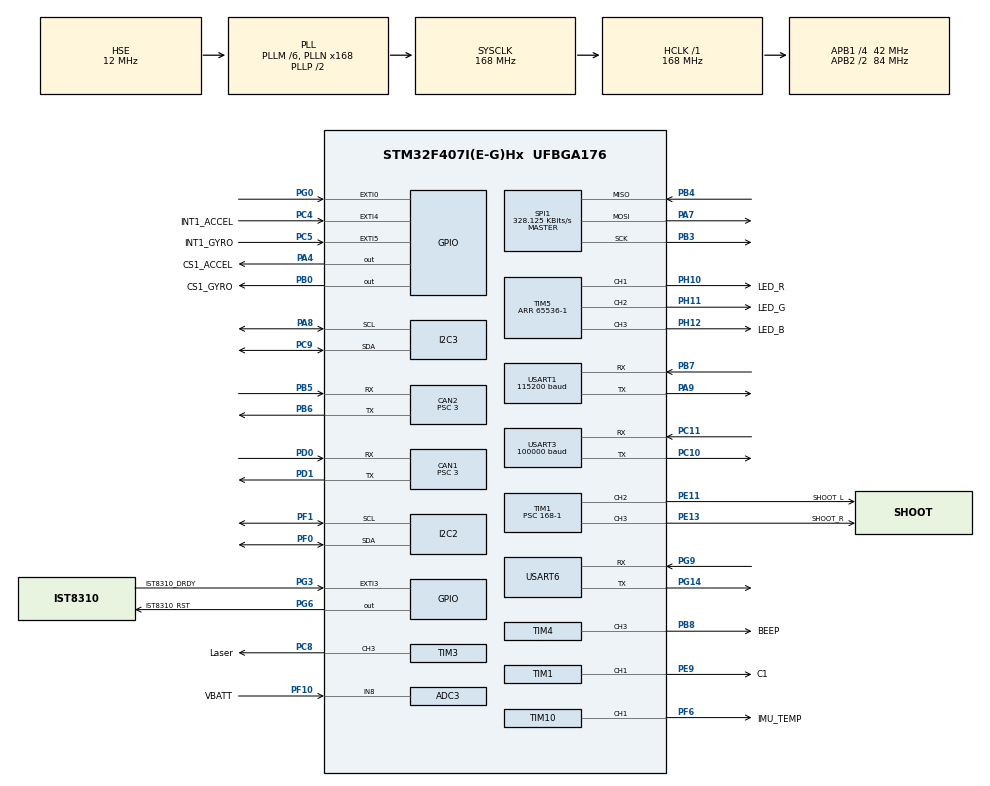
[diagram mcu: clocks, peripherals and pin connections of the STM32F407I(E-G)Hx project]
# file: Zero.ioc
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ADC1.Channel-1\#ChannelRegularConversion=ADC_CHANNEL_VREFINT
ADC1.NbrOfConversionFlag=1
ADC1.Rank-1\#ChannelRegularConversion=1
ADC1.SamplingTime-1\#ChannelRegularConversion=ADC_SAMPLETIME_15CYCLES
ADC1.master=1
ADC3.Channel-0\#ChannelRegularConversion=ADC_CHANNEL_8
ADC3.NbrOfConversionFlag=1
ADC3.Rank-0\#ChannelRegularConversion=1
ADC3.SamplingTime-0\#ChannelRegularConversion=ADC_SAMPLETIME_3CYCLES
CAN1.BS1=CAN_BS1_10TQ
CAN1.BS2=CAN_BS2_3TQ
CAN1.CalculateBaudRate=1000000
CAN1.CalculateTimeBit=1000
CAN1.CalculateTimeQuantum=71.42857142857143
CAN1.Prescaler=3
CAN2.BS1=CAN_BS1_10TQ
CAN2.BS2=CAN_BS2_3TQ
CAN2.CalculateBaudRate=1000000
CAN2.CalculateTimeBit=1000
CAN2.CalculateTimeQuantum=71.42857142857143
CAN2.Prescaler=3
Dma.Request0=USART3_RX
Dma.Request1=SPI1_RX
Dma.Request2=SPI1_TX
Dma.SPI1_RX.1.Direction=DMA_PERIPH_TO_MEMORY
Dma.SPI1_RX.1.FIFOMode=DMA_FIFOMODE_DISABLE
Dma.SPI1_RX.1.Instance=DMA2_Stream2
Dma.SPI1_RX.1.MemDataAlignment=DMA_MDATAALIGN_BYTE
Dma.SPI1_RX.1.MemInc=DMA_MINC_ENABLE
Dma.SPI1_RX.1.Mode=DMA_NORMAL
Dma.SPI1_RX.1.PeriphDataAlignment=DMA_PDATAALIGN_BYTE
Dma.SPI1_RX.1.PeriphInc=DMA_PINC_DISABLE
Dma.SPI1_RX.1.Priority=DMA_PRIORITY_VERY_HIGH
Dma.SPI1_TX.2.Direction=DMA_MEMORY_TO_PERIPH
Dma.SPI1_TX.2.FIFOMode=DMA_FIFOMODE_DISABLE
Dma.SPI1_TX.2.Instance=DMA2_Stream3
Dma.SPI1_TX.2.MemDataAlignment=DMA_MDATAALIGN_BYTE
Dma.SPI1_TX.2.MemInc=DMA_MINC_ENABLE
Dma.SPI1_TX.2.Mode=DMA_NORMAL
Dma.SPI1_TX.2.PeriphDataAlignment=DMA_PDATAALIGN_BYTE
Dma.SPI1_TX.2.PeriphInc=DMA_PINC_DISABLE
Dma.SPI1_TX.2.Priority=DMA_PRIORITY_HIGH
Dma.USART3_RX.0.Direction=DMA_PERIPH_TO_MEMORY
Dma.USART3_RX.0.FIFOMode=DMA_FIFOMODE_DISABLE
Dma.USART3_RX.0.Instance=DMA1_Stream1
Dma.USART3_RX.0.MemDataAlignment=DMA_MDATAALIGN_BYTE
Dma.USART3_RX.0.MemInc=DMA_MINC_ENABLE
Dma.USART3_RX.0.Mode=DMA_NORMAL
Dma.USART3_RX.0.PeriphDataAlignment=DMA_PDATAALIGN_BYTE
Dma.USART3_RX.0.PeriphInc=DMA_PINC_DISABLE
Dma.USART3_RX.0.Priority=DMA_PRIORITY_VERY_HIGH
FREERTOS.INCLUDE_eTaskGetState=1
FREERTOS.INCLUDE_pcTaskGetTaskName=1
FREERTOS.INCLUDE_uxTaskGetStackHighWaterMark=1
FREERTOS.INCLUDE_vTaskCleanUpResources=1
FREERTOS.INCLUDE_vTaskDelayUntil=1
FREERTOS.INCLUDE_xEventGroupSetBitFromISR=1
FREERTOS.INCLUDE_xQueueGetMutexHolder=1
FREERTOS.INCLUDE_xSemaphoreGetMutexHolder=1
FREERTOS.INCLUDE_xTaskAbortDelay=1
FREERTOS.INCLUDE_xTaskGetCurrentTaskHandle=1
FREERTOS.INCLUDE_xTaskGetHandle=1
FREERTOS.INCLUDE_xTimerPendFunctionCall=1
FREERTOS.Tasks01=test,-1,256,TestTask,As weak,NULL,Dynamic,NULL,NULL;gimbal,2,256,GimbalTask,As weak,NULL,Dynamic,NULL,NULL;shoot,1,256,ShootTask,As weak,NULL,Dynamic,NULL,NULL;IMU,3,256,IMUTask,As weak,NULL,Dynamic,NULL,NULL
FREERTOS.configMINIMAL_STACK_SIZE=256
FREERTOS.configTOTAL_HEAP_SIZE=24576
FREERTOS.configUSE_NEWLIB_REENTRANT=1
FREERTOS.configUSE_TIMERS=1
I2C2.I2C_Mode=I2C_Fast
I2C3.I2C_Mode=I2C_Fast
Mcu.Family=STM32F4
Mcu.Name=STM32F407I(E-G)Hx
Mcu.Package=UFBGA176
NVIC.CAN1_RX0_IRQn=true\:6\:0\:true\:false\:true\:true\:true\:true\:true
NVIC.CAN2_RX0_IRQn=true\:6\:0\:true\:false\:true\:true\:true\:true\:true
NVIC.DMA1_Stream1_IRQn=true\:5\:0\:false\:false\:true\:true\:false\:true\:true
NVIC.DMA2_Stream2_IRQn=true\:5\:0\:false\:false\:false\:true\:false\:true\:true
NVIC.DMA2_Stream3_IRQn=true\:5\:0\:false\:false\:true\:true\:false\:true\:true
NVIC.EXTI0_IRQn=true\:5\:0\:true\:false\:true\:true\:true\:true\:true
NVIC.EXTI3_IRQn=true\:5\:0\:true\:false\:true\:true\:true\:true\:true
NVIC.EXTI4_IRQn=true\:5\:0\:true\:false\:true\:true\:true\:true\:true
NVIC.EXTI9_5_IRQn=true\:5\:0\:false\:false\:true\:true\:true\:true\:true
NVIC.PriorityGroup=NVIC_PRIORITYGROUP_4
NVIC.TIM1_BRK_TIM9_IRQn=true\:15\:0\:false\:false\:true\:false\:false\:true\:true
NVIC.TimeBase=TIM1_BRK_TIM9_IRQn
NVIC.TimeBaseIP=TIM9
NVIC.USART1_IRQn=true\:6\:0\:true\:false\:false\:true\:true\:true\:true
NVIC.USART3_IRQn=true\:5\:0\:true\:false\:false\:true\:true\:true\:true
PA13.Mode=Serial_Wire
PA13.Signal=SYS_JTMS-SWDIO
PA14.Mode=Serial_Wire
PA14.Signal=SYS_JTCK-SWCLK
PA4.GPIO_Label=CS1_ACCEL
PA4.GPIO_PuPd=GPIO_PULLUP
PA4.GPIO_Speed=GPIO_SPEED_FREQ_VERY_HIGH
PA4.PinState=GPIO_PIN_SET
PA4.Signal=GPIO_Output
PA7.GPIO_PuPd=GPIO_PULLUP
PA7.Mode=Full_Duplex_Master
PA7.Signal=SPI1_MOSI
PA8.GPIO_Pu=GPIO_PULLUP
PA8.Mode=I2C
PA8.Signal=I2C3_SCL
PA9.Mode=Asynchronous
PA9.Signal=USART1_TX
PB0.GPIO_Label=CS1_GYRO
PB0.GPIO_PuPd=GPIO_PULLUP
PB0.GPIO_Speed=GPIO_SPEED_FREQ_VERY_HIGH
PB0.PinState=GPIO_PIN_SET
PB0.Signal=GPIO_Output
PB3.GPIO_PuPd=GPIO_PULLUP
PB3.Mode=Full_Duplex_Master
PB3.Signal=SPI1_SCK
PB4.GPIO_PuPd=GPIO_PULLUP
PB4.Mode=Full_Duplex_Master
PB4.Signal=SPI1_MISO
PB5.Mode=CAN_Activate
PB5.Signal=CAN2_RX
PB6.Mode=CAN_Activate
PB6.Signal=CAN2_TX
PB7.Mode=Asynchronous
PB7.Signal=USART1_RX
PB8.GPIO_Label=BEEP
PB8.GPIO_Speed=GPIO_SPEED_FREQ_VERY_HIGH
PB8.Signal=S_TIM4_CH3
PC10.Mode=Asynchronous
PC10.Signal=USART3_TX
PC11.Mode=Asynchronous
PC11.Signal=USART3_RX
PC4.GPIO_Label=INT1_ACCEL
PC4.GPIO_PuPd=GPIO_PULLUP
PC4.Signal=GPXTI4
PC5.GPIO_Label=INT1_GYRO
PC5.GPIO_PuPd=GPIO_PULLUP
PC5.Signal=GPXTI5
PC8.GPIO_Label=Laser
PC8.GPIO_Speed=GPIO_SPEED_FREQ_VERY_HIGH
PC8.Signal=S_TIM3_CH3
PC9.GPIO_Pu=GPIO_PULLUP
PC9.Mode=I2C
PC9.Signal=I2C3_SDA
PD0.Mode=CAN_Activate
PD0.Signal=CAN1_RX
PD1.Mode=CAN_Activate
PD1.Signal=CAN1_TX
PE11.GPIO_Label=SHOOT_L
PE11.GPIO_Speed=GPIO_SPEED_FREQ_VERY_HIGH
PE11.Signal=S_TIM1_CH2
PE13.GPIO_Label=SHOOT_R
PE13.GPIO_Speed=GPIO_SPEED_FREQ_VERY_HIGH
PE13.Signal=S_TIM1_CH3
PE9.GPIO_Label=C1
PE9.GPIO_Speed=GPIO_SPEED_FREQ_VERY_HIGH
PE9.Signal=S_TIM1_CH1
PF0.Mode=I2C
PF0.Signal=I2C2_SDA
PF1.Mode=I2C
PF1.Signal=I2C2_SCL
PF10.GPIO_Label=VBATT
PF10.Mode=IN8
PF10.Signal=ADC3_IN8
PF6.GPIO_Label=IMU_TEMP
PF6.GPIO_Speed=GPIO_SPEED_FREQ_VERY_HIGH
PF6.Signal=S_TIM10_CH1
PG0.GPIO_PuPd=GPIO_PULLUP
PG0.Signal=GPXTI0
PG14.Mode=Asynchronous
PG14.Signal=USART6_TX
PG3.GPIO_Label=IST8310_DRDY
PG3.GPIO_ModeDefaultEXTI=GPIO_MODE_IT_FALLING
PG3.GPIO_PuPd=GPIO_PULLUP
PG3.Signal=GPXTI3
PG6.GPIO_Label=IST8310_RST
PG6.GPIO_PuPd=GPIO_PULLUP
PG6.GPIO_Speed=GPIO_SPEED_FREQ_VERY_HIGH
PG6.PinState=GPIO_PIN_SET
PG6.Signal=GPIO_Output
PG9.Mode=Asynchronous
PG9.Signal=USART6_RX
PH0-OSC_IN.Mode=HSE-External-Oscillator
PH0-OSC_IN.Signal=RCC_OSC_IN
PH1-OSC_OUT.Mode=HSE-External-Oscillator
PH1-OSC_OUT.Signal=RCC_OSC_OUT
PH10.GPIO_Label=LED_R
PH10.GPIO_Speed=GPIO_SPEED_FREQ_HIGH
PH10.Signal=S_TIM5_CH1
PH11.GPIO_Label=LED_G
PH11.GPIO_Speed=GPIO_SPEED_FREQ_HIGH
PH11.Signal=S_TIM5_CH2
PH12.GPIO_Label=LED_B
PH12.GPIO_Speed=GPIO_SPEED_FREQ_HIGH
PH12.Signal=S_TIM5_CH3
ProjectManager.HeapSize=0x200
ProjectManager.StackSize=0x400
ProjectManager.TargetToolchain=STM32CubeIDE
RCC.48MHZClocksFreq_Value=84000000
RCC.AHBFreq_Value=168000000
RCC.APB1CLKDivider=RCC_HCLK_DIV4
RCC.APB1Freq_Value=42000000
RCC.APB1TimFreq_Value=84000000
RCC.APB2CLKDivider=RCC_HCLK_DIV2
RCC.APB2Freq_Value=84000000
RCC.APB2TimFreq_Value=168000000
RCC.CortexFreq_Value=168000000
RCC.HCLKFreq_Value=168000000
RCC.HSE_VALUE=12000000
RCC.HSI_VALUE=16000000
RCC.LSE_VALUE=32768
RCC.PLLM=6
RCC.PLLN=168
RCC.PLLSourceVirtual=RCC_PLLSOURCE_HSE
RCC.SYSCLKFreq_VALUE=168000000
RCC.SYSCLKSource=RCC_SYSCLKSOURCE_PLLCLK
RCC.VCOOutputFreq_Value=336000000
SH.S_TIM10_CH1.0=TIM10_CH1,PWM Generation1 CH1
SH.S_TIM1_CH1.0=TIM1_CH1,PWM Generation1 CH1
SH.S_TIM1_CH2.0=TIM1_CH2,PWM Generation2 CH2
SH.S_TIM1_CH3.0=TIM1_CH3,PWM Generation3 CH3
SH.S_TIM3_CH3.0=TIM3_CH3,PWM Generation3 CH3
SH.S_TIM4_CH3.0=TIM4_CH3,PWM Generation3 CH3
SH.S_TIM5_CH1.0=TIM5_CH1,PWM Generation1 CH1
SH.S_TIM5_CH2.0=TIM5_CH2,PWM Generation2 CH2
SH.S_TIM5_CH3.0=TIM5_CH3,PWM Generation3 CH3
SPI1.BaudRatePrescaler=SPI_BAUDRATEPRESCALER_256
SPI1.CLKPhase=SPI_PHASE_2EDGE
SPI1.CLKPolarity=SPI_POLARITY_HIGH
SPI1.CalculateBaudRate=328.125 KBits/s
SPI1.Direction=SPI_DIRECTION_2LINES
SPI1.Mode=SPI_MODE_MASTER
SPI1.VirtualType=VM_MASTER
STMicroelectronics.X-CUBE-ALGOBUILD.1.2.1.LibraryCcDSPOoLibraryJjDSPOoLibrary=true
TIM1.Channel-PWM\ Generation1\ CH1=TIM_CHANNEL_1
TIM1.Channel-PWM\ Generation2\ CH2=TIM_CHANNEL_2
TIM1.Channel-PWM\ Generation3\ CH3=TIM_CHANNEL_3
TIM1.Period=2000-1
TIM1.Prescaler=168-1
TIM1.Pulse-PWM\ Generation2\ CH2=0
TIM10.Channel=TIM_CHANNEL_1
TIM10.Period=1000-1
TIM10.Prescaler=168-1
TIM3.Channel-PWM\ Generation3\ CH3=TIM_CHANNEL_3
TIM4.Channel-PWM\ Generation3\ CH3=TIM_CHANNEL_3
TIM4.Period=2000-1
TIM4.Prescaler=0
TIM5.Channel-PWM\ Generation1\ CH1=TIM_CHANNEL_1
TIM5.Channel-PWM\ Generation2\ CH2=TIM_CHANNEL_2
TIM5.Channel-PWM\ Generation3\ CH3=TIM_CHANNEL_3
TIM5.Period=65536-1
TIM5.Pulse-PWM\ Generation1\ CH1=0
USART1.BaudRate=115200
USART1.Mode=MODE_TX_RX
USART1.VirtualMode=VM_ASYNC
USART3.BaudRate=100000
USART3.Mode=MODE_RX
USART3.Parity=PARITY_EVEN
USART3.VirtualMode=VM_ASYNC
USART6.VirtualMode=VM_ASYNC
VP_ADC1_TempSens_Input.Mode=IN-TempSens
VP_ADC1_Vref_Input.Mode=IN-Vrefint
VP_CRC_VS_CRC.Mode=CRC_Activate
VP_FREERTOS_VS_CMSIS_V1.Mode=CMSIS_V1
VP_STMicroelectronics.X-CUBE-ALGOBUILD_VS_DSPOoLibraryJjLibrary_1.2.1_1.2.1.Mode=DSPOoLibraryJjLibrary
VP_SYS_VS_tim9.Mode=TIM9
VP_TIM10_VS_ClockSourceINT.Mode=Enable_Timer
VP_TIM1_VS_ClockSourceINT.Mode=Internal
VP_TIM3_VS_ClockSourceINT.Mode=Internal
VP_TIM4_VS_ClockSourceINT.Mode=Internal
VP_TIM5_VS_ClockSourceINT.Mode=Internal
board=custom

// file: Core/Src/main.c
/* USER CODE BEGIN Header */
/**
  ******************************************************************************
  * @file           : main.c
  * @brief          : Main program body
  ******************************************************************************
  * @attention
  *
  * <h2><center>&copy; Copyright (c) 2021 STMicroelectronics.
  * All rights reserved.</center></h2>
  *
  * This software component is licensed by ST under BSD 3-Clause license,
  * the "License"; You may not use this file except in compliance with the
  * License. You may obtain a copy of the License at:
  *                        opensource.org/licenses/BSD-3-Clause
  *
  ******************************************************************************
  */
/* USER CODE END Header */
#include "main.h"
#include "cmsis_os.h"
#include "adc.h"
#include "can.h"
#include "crc.h"
#include "dma.h"
#include "i2c.h"
#include "spi.h"
#include "tim.h"
#include "usart.h"
#include "gpio.h"

/* USER CODE BEGIN Includes */
#include "bsp_adc.h"
#include "bsp_beep.h"
#include "remote_control.h"
#include "bsp_can.h"
#include "PID.h"
#include "BMI088_Middleware.h"
#include "ist8310driver.h"
#include "anotc.h"
#include "shoot.h"
/* USER CODE END Includes */

void SystemClock_Config(void);
void MX_FREERTOS_Init(void);

int main(void)
{

  /* MCU Configuration--------------------------------------------------------*/

  /* Reset of all peripherals, Initializes the Flash interface and the Systick. */
  HAL_Init();

  /* Configure the system clock */
  SystemClock_Config();

  /* Initialize all configured peripherals */
  MX_GPIO_Init();
  MX_DMA_Init();
  MX_TIM1_Init();
  MX_TIM3_Init();
  MX_TIM4_Init();
  MX_TIM5_Init();
  MX_TIM10_Init();
  MX_CAN1_Init();
  MX_CAN2_Init();
  MX_USART3_UART_Init();
  MX_USART1_UART_Init();
  MX_USART6_UART_Init();
  MX_ADC1_Init();
  MX_ADC3_Init();
  MX_SPI1_Init();
  MX_I2C2_Init();
  MX_I2C3_Init();
  MX_CRC_Init();
  /* USER CODE BEGIN 2 */
	HAL_Delay(100);				// 等待外设全部上电
//	HAL_Delay(3000);
	Delay_us_init();
	LED_Init();
	Beep_Init();
	GimbalMachineTypeDef_Init();
	PID_Init();
	Snail_Init();
	Laser_Init();
	ADC_Vrefint_Init();
	Remote_Control_Init();
	Can_Filter_Init();
//	__HAL_UART_ENABLE_IT(&huart1, UART_IT_RXNE);  // 使能串口接收中断
//	__HAL_UART_ENABLE_IT(&huart1, UART_IT_IDLE);  // 使能串口空闲中断
	BMI088_init();
//	ist8310_init();

	Motor_Prevent_InitMadness();

	Beep_Init_Success();
	aRGB_led_show(0xFFFFFFFF);	// 亮彩灯完成初始化
  /* USER CODE END 2 */

  /* Call init function for freertos objects (in freertos.c) */
  MX_FREERTOS_Init();

  /* Start scheduler */
  osKernelStart();

  /* We should never get here as control is now taken by the scheduler */
  /* Infinite loop */
  while (1)
  {

  }
}

void SystemClock_Config(void)
{
  RCC_OscInitTypeDef RCC_OscInitStruct = {0};
  RCC_ClkInitTypeDef RCC_ClkInitStruct = {0};

  /** Configure the main internal regulator output voltage
  */
  __HAL_RCC_PWR_CLK_ENABLE();
  __HAL_PWR_VOLTAGESCALING_CONFIG(PWR_REGULATOR_VOLTAGE_SCALE1);

  /** Initializes the RCC Oscillators according to the specified parameters
  * in the RCC_OscInitTypeDef structure.
  */
  RCC_OscInitStruct.OscillatorType = RCC_OSCILLATORTYPE_HSE;
  RCC_OscInitStruct.HSEState = RCC_HSE_ON;
  RCC_OscInitStruct.PLL.PLLState = RCC_PLL_ON;
  RCC_OscInitStruct.PLL.PLLSource = RCC_PLLSOURCE_HSE;
  RCC_OscInitStruct.PLL.PLLM = 6;
  RCC_OscInitStruct.PLL.PLLN = 168;
  RCC_OscInitStruct.PLL.PLLP = RCC_PLLP_DIV2;
  RCC_OscInitStruct.PLL.PLLQ = 4;
  if (HAL_RCC_OscConfig(&RCC_OscInitStruct) != HAL_OK)
  {
    Error_Handler();
  }

  /** Initializes the CPU, AHB and APB buses clocks
  */
  RCC_ClkInitStruct.ClockType = RCC_CLOCKTYPE_HCLK|RCC_CLOCKTYPE_SYSCLK
                              |RCC_CLOCKTYPE_PCLK1|RCC_CLOCKTYPE_PCLK2;
  RCC_ClkInitStruct.SYSCLKSource = RCC_SYSCLKSOURCE_PLLCLK;
  RCC_ClkInitStruct.AHBCLKDivider = RCC_SYSCLK_DIV1;
  RCC_ClkInitStruct.APB1CLKDivider = RCC_HCLK_DIV4;
  RCC_ClkInitStruct.APB2CLKDivider = RCC_HCLK_DIV2;

  if (HAL_RCC_ClockConfig(&RCC_ClkInitStruct, FLASH_LATENCY_5) != HAL_OK)
  {
    Error_Handler();
  }
}

void HAL_TIM_PeriodElapsedCallback(TIM_HandleTypeDef *htim)
{
  if (htim->Instance == TIM9) {
    HAL_IncTick();
  }
}

void Error_Handler(void)
{
  /* USER CODE BEGIN Error_Handler_Debug */
  /* User can add his own implementation to report the HAL error return state */
	aRGB_led_show(0xFF0000FF);		// 亮蓝灯
	__disable_irq();
	while (1)
	{
	}
  /* USER CODE END Error_Handler_Debug */
}

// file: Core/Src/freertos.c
/* USER CODE BEGIN Header */
/**
  ******************************************************************************
  * File Name          : freertos.c
  * Description        : Code for freertos applications
  ******************************************************************************
  * @attention
  *
  * <h2><center>&copy; Copyright (c) 2021 STMicroelectronics.
  * All rights reserved.</center></h2>
  *
  * This software component is licensed by ST under Ultimate Liberty license
  * SLA0044, the "License"; You may not use this file except in compliance with
  * the License. You may obtain a copy of the License at:
  *                             www.st.com/SLA0044
  *
  ******************************************************************************
  */
/* USER CODE END Header */

#include "FreeRTOS.h"
#include "task.h"
#include "main.h"
#include "cmsis_os.h"

/* USER CODE BEGIN Includes */
#include "messageQueue.h"
/* USER CODE END Includes */

osThreadId testHandle;
osThreadId gimbalHandle;
osThreadId shootHandle;
osThreadId IMUHandle;

void TestTask(void const * argument);
void GimbalTask(void const * argument);
void ShootTask(void const * argument);
void IMUTask(void const * argument);

void MX_FREERTOS_Init(void); /* (MISRA C 2004 rule 8.1) */

/* GetIdleTaskMemory prototype (linked to static allocation support) */
void vApplicationGetIdleTaskMemory( StaticTask_t **ppxIdleTaskTCBBuffer, StackType_t **ppxIdleTaskStackBuffer, uint32_t *pulIdleTaskStackSize );

/* GetTimerTaskMemory prototype (linked to static allocation support) */
void vApplicationGetTimerTaskMemory( StaticTask_t **ppxTimerTaskTCBBuffer, StackType_t **ppxTimerTaskStackBuffer, uint32_t *pulTimerTaskStackSize );

/* USER CODE BEGIN GET_IDLE_TASK_MEMORY */
static StaticTask_t xIdleTaskTCBBuffer;
static StackType_t xIdleStack[configMINIMAL_STACK_SIZE];

void vApplicationGetIdleTaskMemory( StaticTask_t **ppxIdleTaskTCBBuffer, StackType_t **ppxIdleTaskStackBuffer, uint32_t *pulIdleTaskStackSize )
{
  *ppxIdleTaskTCBBuffer = &xIdleTaskTCBBuffer;
  *ppxIdleTaskStackBuffer = &xIdleStack[0];
  *pulIdleTaskStackSize = configMINIMAL_STACK_SIZE;
  /* place for user code */
}
/* USER CODE END GET_IDLE_TASK_MEMORY */

/* USER CODE BEGIN GET_TIMER_TASK_MEMORY */
static StaticTask_t xTimerTaskTCBBuffer;
static StackType_t xTimerStack[configTIMER_TASK_STACK_DEPTH];

void vApplicationGetTimerTaskMemory( StaticTask_t **ppxTimerTaskTCBBuffer, StackType_t **ppxTimerTaskStackBuffer, uint32_t *pulTimerTaskStackSize )
{
  *ppxTimerTaskTCBBuffer = &xTimerTaskTCBBuffer;
  *ppxTimerTaskStackBuffer = &xTimerStack[0];
  *pulTimerTaskStackSize = configTIMER_TASK_STACK_DEPTH;
  /* place for user code */
}
/* USER CODE END GET_TIMER_TASK_MEMORY */

void MX_FREERTOS_Init(void) {

  /* USER CODE BEGIN RTOS_QUEUES */
  /* add queues, ... */
	MessageQueueCreate();
  /* USER CODE END RTOS_QUEUES */

  /* Create the thread(s) */
  /* definition and creation of test */
  osThreadDef(test, TestTask, osPriorityBelowNormal, 0, 256);
  testHandle = osThreadCreate(osThread(test), NULL);

  /* definition and creation of gimbal */
  osThreadDef(gimbal, GimbalTask, osPriorityHigh, 0, 256);
  gimbalHandle = osThreadCreate(osThread(gimbal), NULL);

  /* definition and creation of shoot */
  osThreadDef(shoot, ShootTask, osPriorityAboveNormal, 0, 256);
  shootHandle = osThreadCreate(osThread(shoot), NULL);

  /* definition and creation of IMU */
  osThreadDef(IMU, IMUTask, osPriorityRealtime, 0, 256);
  IMUHandle = osThreadCreate(osThread(IMU), NULL);

}

__weak void TestTask(void const * argument)
{
  for(;;)
  {
    osDelay(1);
  }
}

__weak void GimbalTask(void const * argument)
{
  for(;;)
  {
    osDelay(1);
  }
}

__weak void ShootTask(void const * argument)
{
  for(;;)
  {
    osDelay(1);
  }
}

__weak void IMUTask(void const * argument)
{
  for(;;)
  {
    osDelay(1);
  }
}
